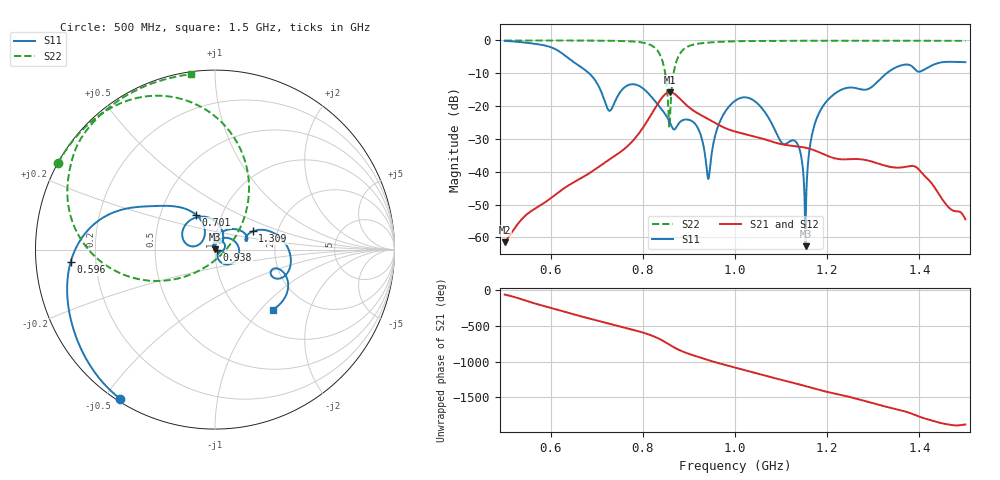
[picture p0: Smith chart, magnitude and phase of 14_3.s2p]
! TOUCHSTONE file generated by CST MICROWAVE STUDIO
! Date and time: Fri Oct 30 07:54:28 2020
! Project name: Scenario_1_Circular_Tissue_out_of_Line.cst
! Parameters = {dy1=-120.567; L_HA=400; MT=2.54; Rad_Dielectric=30; Rad_Lower=7.3; Rad_Upper=30; a_HA=580; a_WG=246; b_HA=500; b_WG=121; c_HA=0; c_WG=187; d_feed=85; dx1=520; h_feed=15; h_lower=18; h_upper=40}
! Header version: 2018
! Port assignment regex: !\s*Touchstone port\s*([0-9]+)\s*=\s*(CST MWS port|CST DS port)\s*([0-9]+|Zmin|Zmax)\s*\(\"(.*)\"\)(\s*mode\s*([0-9]+))?.*
! Touchstone port assignment:
! Touchstone port 1 = CST MWS port 1 ("")
! Touchstone port 2 = CST MWS port 2 ("")
# GHz S DB R 50
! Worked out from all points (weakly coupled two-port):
!   1001 points, 500 MHz to 1.5 GHz, reference 50 ohm
!   highest |S21| = -15.76 dB at 859 MHz (marker M1); lowest = -61.5 dB at 500 MHz (marker M2)
!   lowest |S11| = -62.7 dB at 1.153 GHz (marker M3), VSWR 1.00, Z = 50 + j0.0721 ohm
!   |S11| at or under -10 dB: 683.2 MHz to 1.329 GHz (646 MHz wide, 64.2 % of centre)
!   |S22| runs from -26.5 to 0.0 dB; largest |S21 - S12| = 1.1e-05
!   S11 on the Smith chart (normalised r, x): 500 MHz: 0.01, -0.55; 596 MHz: 0.11, -0.04; 701 MHz: 0.76, +0.31; 938 MHz: 1.02, -0.01; 1.309 GHz: 1.49, +0.32; 1.5 GHz: 1.36, -1.18
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0.5  -0.13 -122.5  -61.54 -62.7  -61.54 -62.7  -0.01 151.1
0.596  -1.87 -175.2  -48.48 118.6  -48.48 118.6  -0.02 144.4
0.667  -8.24 141.0  -41.87 -9.6  -41.87 -9.6  -0.04 138.3
0.701  -13.13 118.6  -38.82 -66.9  -38.82 -66.9  -0.07 134.7
0.727  -21.41 142.9  -36.29 -112.0  -36.29 -112.0  -0.10 131.3
0.776  -13.35 139.0  -30.92 167.7  -30.92 167.7  -0.30 121.3
0.834  -19.79 65.1  -18.95 42.5  -18.95 42.5  -3.54 83.1
0.859  -25.07 46.6  -15.76 -49.1  -15.76 -49.1  -23.30 -98.9
0.88  -24.94 59.9  -17.70 -121.7  -17.70 -121.7  -4.15 -172.4
0.917  -26.11 0.6  -22.02 151.5  -22.02 151.5  -1.06 158.4
0.938  -38.26 -12.6  -23.63 108.5  -23.63 108.5  -0.70 151.5
0.968  -24.48 67.1  -25.98 51.2  -25.98 51.2  -0.41 145.2
1  -18.41 21.7  -27.74 -3.5  -27.74 -3.5  -0.26 140.1
1.041  -18.32 -38.9  -29.22 -74.6  -29.22 -74.6  -0.18 135.2
1.133  -30.98 -33.5  -32.23 131.4  -32.23 131.4  -0.11 126.8
1.153  -62.66 78.2  -32.66 95.9  -32.66 95.9  -0.10 125.2
1.167  -28.80 99.6  -33.20 70.6  -33.20 70.6  -0.10 124.1
1.212  -16.72 51.5  -35.73 -1.8  -35.73 -1.8  -0.08 120.6
1.309  -12.62 25.8  -37.41 -161.0  -37.41 -161.0  -0.08 113.3
1.334  -9.48 16.5  -38.43 158.7  -38.43 158.7  -0.08 111.4
1.394  -9.23 -24.7  -38.68 44.0  -38.68 44.0  -0.10 106.7
1.5  -6.62 -46.6  -54.47 -80.4  -54.48 -80.4  -0.13 97.8
